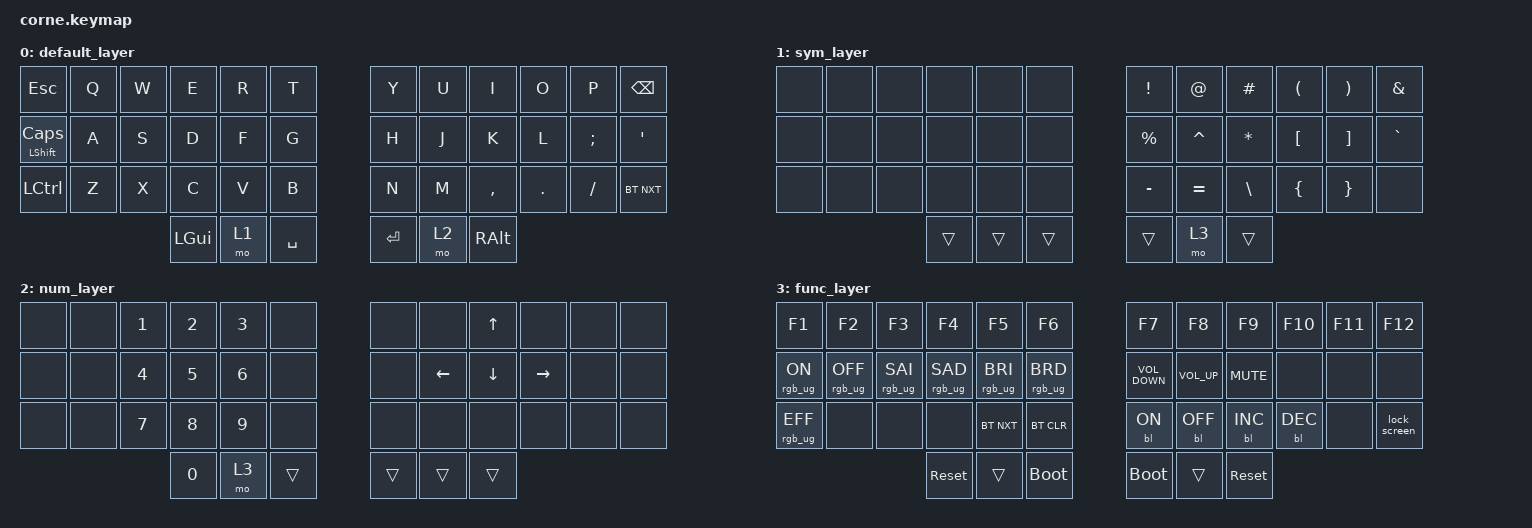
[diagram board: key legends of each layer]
/*
 * Copyright (c) 2020 The ZMK Contributors
 *
 * SPDX-License-Identifier: MIT
 */

#include <behaviors.dtsi>
#include <dt-bindings/zmk/backlight.h>
#include <dt-bindings/zmk/bt.h>
#include <dt-bindings/zmk/keys.h>
#include <dt-bindings/zmk/rgb.h>

// LAYERS

#define DEFAULT 0
#define NUM     1
#define SYM     2
#define FUNC    3

// MACROS

#define SUPER LC(LSHIFT)
#define SUPER2 LA(LC(LSHIFT))

&mt {
    tapping-term-ms = <200>;
    flavor = "tap-preferred";
};

/ {
    behaviors {
        hm: homerow_mods {
            compatible = "zmk,behavior-hold-tap";
            label = "HOMEROW_MODS";
            #binding-cells = <2>;
            tapping-term-ms = <200>;
            quick-tap-ms = <0>;
            flavor = "tap-preferred";
            bindings = <&kp>, <&kp>;
        };

        td0: tap_dance_0 {
            compatible = "zmk,behavior-tap-dance";
            label = "TAP_DANCE_0";
            #binding-cells = <0>;
            tapping-term-ms = <200>;
            bindings = <&hm RGUI SEMI>, <&kp SQT>;
        };

        td1: tap_dance_1 {
            compatible = "zmk,behavior-tap-dance";
            label = "TAP_DANCE_1";
            #binding-cells = <0>;
            tapping-term-ms = <200>;
            bindings = <&mt LCTRL TAB>, <&kp ESC>;
        };
    };

    combos { compatible = "zmk,combos"; };

    macros {
        lock_screen: lock_screen {
            compatible = "zmk,behavior-macro";
            #binding-cells = <0>;
            bindings = <&kp LEFT_GUI &kp LEFT_CONTROL &kp Q>;
            label = "LOCK_SCREEN";
        };
    };

    keymap {
        compatible = "zmk,keymap";

        default_layer {
            bindings = <
&kp ESC              &kp Q  &kp W  &kp E         &kp R  &kp T        &kp Y      &kp U  &kp I      &kp O    &kp P          &kp BACKSPACE
&hm LEFT_SHIFT CAPS  &kp A  &kp S  &kp D         &kp F  &kp G        &kp H      &kp J  &kp K      &kp L    &kp SEMICOLON  &kp SINGLE_QUOTE
&kp LCTRL            &kp Z  &kp X  &kp C         &kp V  &kp B        &kp N      &kp M  &kp COMMA  &kp DOT  &kp FSLH       &bt BT_NXT
                                   &kp LEFT_GUI  &mo 1  &kp SPACE    &kp ENTER  &mo 2  &kp RALT
            >;
        };

        sym_layer {
            bindings = <
&none  &none  &none  &none   &none   &none     &kp EXCL     &kp AT     &kp HASH       &kp LPAR  &kp RPAR  &kp AMPERSAND
&none  &none  &none  &none   &none   &none     &kp PERCENT  &kp CARET  &kp ASTERISK   &kp LBKT  &kp RBKT  &kp GRAVE
&none  &none  &none  &none   &none   &none     &kp MINUS    &kp EQUAL  &kp BACKSLASH  &kp LBRC  &kp RBRC  &none
                     &trans  &trans  &trans    &trans       &mo 3      &trans
            >;
        };

        num_layer {
            bindings = <
&none  &none  &kp N1  &kp N2  &kp N3  &none     &none   &none     &kp UP_ARROW  &none      &none  &none
&none  &none  &kp N4  &kp N5  &kp N6  &none     &none   &kp LEFT  &kp DOWN      &kp RIGHT  &none  &none
&none  &none  &kp N7  &kp N8  &kp N9  &none     &none   &none     &none         &none      &none  &none
                      &kp N0  &mo 3   &trans    &trans  &trans    &trans
            >;
        };

        func_layer {
            bindings = <
&kp F1           &kp F2           &kp F3           &kp F4           &kp F5           &kp F6             &kp F7             &kp F8           &kp F9      &kp F10     &kp F11  &kp F12
&rgb_ug RGB_ON   &rgb_ug RGB_OFF  &rgb_ug RGB_SAI  &rgb_ug RGB_SAD  &rgb_ug RGB_BRI  &rgb_ug RGB_BRD    &kp C_VOLUME_DOWN  &kp C_VOLUME_UP  &kp K_MUTE  &none       &none    &none
&rgb_ug RGB_EFF  &none            &none            &none            &bt BT_NXT       &bt BT_CLR         &bl BL_ON          &bl BL_OFF       &bl BL_INC  &bl BL_DEC  &none    &lock_screen
                                                   &sys_reset       &trans           &bootloader        &bootloader        &trans           &sys_reset
            >;
        };
    };
};
